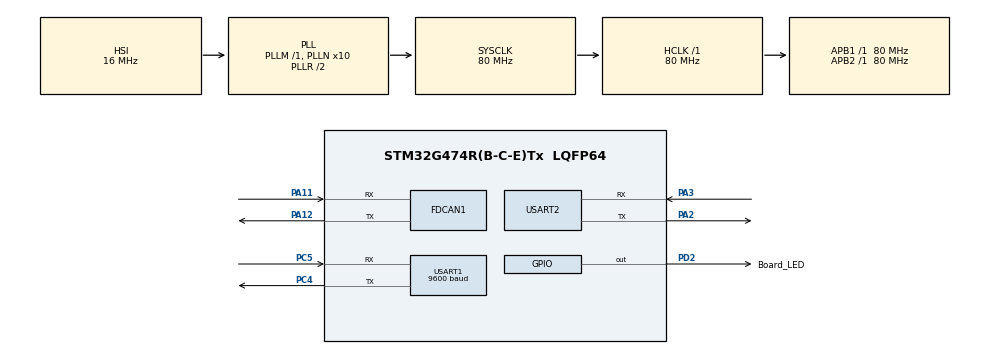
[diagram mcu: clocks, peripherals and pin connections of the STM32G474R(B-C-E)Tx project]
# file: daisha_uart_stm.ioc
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FDCAN1.CalculateBaudRateNominal=1000000
FDCAN1.CalculateTimeBitNominal=1000
FDCAN1.CalculateTimeQuantumNominal=50.0
FDCAN1.DataPrescaler=2
FDCAN1.DataTimeSeg1=15
FDCAN1.DataTimeSeg2=4
FDCAN1.FrameFormat=FDCAN_FRAME_FD_BRS
FDCAN1.NominalPrescaler=4
FDCAN1.NominalTimeSeg1=15
FDCAN1.NominalTimeSeg2=4
FDCAN1.StdFiltersNbr=1
Mcu.Family=STM32G4
Mcu.Name=STM32G474R(B-C-E)Tx
Mcu.Package=LQFP64
NVIC.FDCAN1_IT0_IRQn=true\:0\:0\:false\:false\:true\:true\:true\:true
NVIC.FDCAN1_IT1_IRQn=true\:0\:0\:false\:false\:true\:true\:true\:true
NVIC.PriorityGroup=NVIC_PRIORITYGROUP_4
NVIC.USART1_IRQn=true\:0\:0\:false\:false\:true\:true\:true\:true
NVIC.USART2_IRQn=true\:0\:0\:false\:false\:true\:true\:true\:true
PA11.Mode=FDCAN_Activate
PA11.Signal=FDCAN1_RX
PA12.Mode=FDCAN_Activate
PA12.Signal=FDCAN1_TX
PA2.Mode=Asynchronous
PA2.Signal=USART2_TX
PA3.Mode=Asynchronous
PA3.Signal=USART2_RX
PC4.Mode=Asynchronous
PC4.Signal=USART1_TX
PC5.Mode=Asynchronous
PC5.Signal=USART1_RX
PD2.GPIO_Label=Board_LED
PD2.Signal=GPIO_Output
ProjectManager.HeapSize=0x200
ProjectManager.StackSize=0x400
ProjectManager.TargetToolchain=STM32CubeIDE
RCC.ADC12Freq_Value=80000000
RCC.ADC345Freq_Value=80000000
RCC.AHBFreq_Value=80000000
RCC.APB1Freq_Value=80000000
RCC.APB1TimFreq_Value=80000000
RCC.APB2Freq_Value=80000000
RCC.APB2TimFreq_Value=80000000
RCC.CortexFreq_Value=80000000
RCC.EXTERNAL_CLOCK_VALUE=12288000
RCC.HCLKFreq_Value=80000000
RCC.HSE_VALUE=8000000
RCC.HSI48_VALUE=48000000
RCC.HSI_VALUE=16000000
RCC.LSE_VALUE=32768
RCC.PLLN=10
RCC.SYSCLKFreq_VALUE=80000000
RCC.SYSCLKSource=RCC_SYSCLKSOURCE_PLLCLK
RCC.USBFreq_Value=80000000
RCC.VCOOutputFreq_Value=160000000
USART1.BaudRate=9600
USART1.VirtualMode-Asynchronous=VM_ASYNC
USART2.VirtualMode-Asynchronous=VM_ASYNC
VP_SYS_VS_DBSignals.Mode=DisableDeadBatterySignals
board=custom

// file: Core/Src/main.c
/* USER CODE BEGIN Header */
/**
  ******************************************************************************
  * @file           : main.c
  * @brief          : Main program body
  ******************************************************************************
  * @attention
  *
  * Copyright (c) 2024 STMicroelectronics.
  * All rights reserved.
  *
  * This software is licensed under terms that can be found in the LICENSE file
  * in the root directory of this software component.
  * If no LICENSE file comes with this software, it is provided AS-IS.
  *
  ******************************************************************************
  */
/* USER CODE END Header */
#include "main.h"

/* USER CODE BEGIN Includes */
#include <stdio.h>
#include <string.h>
/* USER CODE END Includes */

FDCAN_HandleTypeDef hfdcan1;

UART_HandleTypeDef huart1;
UART_HandleTypeDef huart2;

/* USER CODE BEGIN PV */
FDCAN_TxHeaderTypeDef TxHeader;
FDCAN_RxHeaderTypeDef RxHeader;
FDCAN_FilterTypeDef sFilterConfig;

uint8_t TxData1[8] = {};
uint8_t RxData[8] = {};

uint8_t buffer[1] = {};
uint8_t size = 1;
int8_t datapos=-1;
uint8_t data[9];
uint16_t FIRSTCANID = 0x300;
uint16_t SECONDCANID = 0x301;
/* USER CODE END PV */

void SystemClock_Config(void);
static void MX_GPIO_Init(void);
static void MX_FDCAN1_Init(void);
static void MX_USART2_UART_Init(void);
static void MX_USART1_UART_Init(void);

/* USER CODE BEGIN 0 */
void HAL_UART_RxCpltCallback(UART_HandleTypeDef *huart)
{

    if(buffer[0] == 0xff){
    	datapos=0;
    }else if(datapos>=0){
        data[datapos++]=buffer[0];
    }
    if(datapos>=5){
    	memcpy(TxData1,data,4);
        datapos=-1;
    }

	HAL_UART_Receive_IT(&huart1, buffer, size);
}

void HAL_UART_ErrorCallback(UART_HandleTypeDef *huart){
	printf("uart_error\r\n");
	HAL_UART_Abort(huart);
	HAL_UART_Receive_IT(&huart1, buffer, size);
	datapos=-1;
}

void HAL_FDCAN_RxFifo1Callback(FDCAN_HandleTypeDef *hfdcan, uint32_t RxFifo1ITs){
	int16_t CANID = 0;
	if (RESET != (RxFifo1ITs & FDCAN_IT_RX_FIFO1_NEW_MESSAGE)) {

	        /* Retrieve Rx messages from RX FIFO0 */

		if (HAL_OK != HAL_FDCAN_GetRxMessage(&hfdcan1, FDCAN_RX_FIFO1, &RxHeader, RxData)) {
			printf("fdcan_getrxmessage is error\r\n");
			Error_Handler();
		}

		if (CANID == RxHeader.Identifier) {

		}
	}
}

void FDCAN_RxTxSettings(void){
	FDCAN_FilterTypeDef FDCAN_Filter_settings;
	FDCAN_Filter_settings.IdType = FDCAN_STANDARD_ID;
	FDCAN_Filter_settings.FilterIndex = 0;
	FDCAN_Filter_settings.FilterType = FDCAN_FILTER_RANGE;
	FDCAN_Filter_settings.FilterConfig = FDCAN_FILTER_TO_RXFIFO1;
	FDCAN_Filter_settings.FilterID1 = 0;
	FDCAN_Filter_settings.FilterID2 = 0x7FF;

	TxHeader.Identifier = 0x000;
	TxHeader.IdType = FDCAN_STANDARD_ID;
	TxHeader.TxFrameType = FDCAN_DATA_FRAME;
	TxHeader.DataLength = FDCAN_DLC_BYTES_8;
	TxHeader.ErrorStateIndicator = FDCAN_ESI_ACTIVE;
	TxHeader.BitRateSwitch = FDCAN_BRS_ON;
	TxHeader.FDFormat = FDCAN_FD_CAN;
	TxHeader.TxEventFifoControl = FDCAN_NO_TX_EVENTS;
	TxHeader.MessageMarker = 0;

	if (HAL_OK != HAL_FDCAN_ConfigFilter(&hfdcan1, &FDCAN_Filter_settings)){
		printf("fdcan_configfilter is error\r\n");
		Error_Handler();
	}

	if (HAL_OK != HAL_FDCAN_ConfigGlobalFilter(&hfdcan1, FDCAN_REJECT, FDCAN_FILTER_REJECT, FDCAN_FILTER_REMOTE, FDCAN_FILTER_REMOTE)){
		printf("fdcan_configglobalfilter is error\r\n");
		Error_Handler();
	}

	if (HAL_OK != HAL_FDCAN_Start(&hfdcan1)) {
		printf("fdcan_start is error\r\n");
		Error_Handler();
	}

	if (HAL_OK != HAL_FDCAN_ActivateNotification(&hfdcan1, FDCAN_IT_RX_FIFO1_NEW_MESSAGE, 0)){
		printf("fdcan_activatenotification is error\r\n");
		Error_Handler();
	}
}

int _write(int file, char *ptr, int len)
{
    HAL_UART_Transmit(&huart2,(uint8_t *)ptr,len,10);
    return len;
}
/* USER CODE END 0 */

int main(void)
{

  /* USER CODE BEGIN 1 */
	setbuf(stdout, NULL);
  /* USER CODE END 1 */

  /* MCU Configuration--------------------------------------------------------*/

  /* Reset of all peripherals, Initializes the Flash interface and the Systick. */
  HAL_Init();

  /* Configure the system clock */
  SystemClock_Config();

  /* Initialize all configured peripherals */
  MX_GPIO_Init();
  MX_FDCAN1_Init();
  MX_USART2_UART_Init();
  MX_USART1_UART_Init();
  /* USER CODE BEGIN 2 */
  printf("start\r\n");
  printf("can start\r\n");
  FDCAN_RxTxSettings();
  HAL_UART_Receive_IT(&huart1, buffer, size);
  /* USER CODE END 2 */

  /* Infinite loop */
  /* USER CODE BEGIN WHILE */
  while (1)
  {
	  //printf("%d, %d, %d, %d\r\n", TxData1[0], TxData1[1], TxData1[2], TxData1[3]);
	  printf("(%d,%d)\r\n",(int16_t)(TxData1[0] << 8 | TxData1[1]), (int16_t)(TxData1[2] << 8 | TxData1[3]));
	  TxHeader.Identifier = FIRSTCANID;
	  if (HAL_FDCAN_AddMessageToTxFifoQ(&hfdcan1, &TxHeader, TxData1) != HAL_OK){
		  printf("addmessage1 is error\r\n");
		  Error_Handler();
	  }
	  HAL_Delay(1);
    /* USER CODE END WHILE */

  }
}

void SystemClock_Config(void)
{
  RCC_OscInitTypeDef RCC_OscInitStruct = {0};
  RCC_ClkInitTypeDef RCC_ClkInitStruct = {0};

  /** Configure the main internal regulator output voltage
  */
  HAL_PWREx_ControlVoltageScaling(PWR_REGULATOR_VOLTAGE_SCALE1);

  /** Initializes the RCC Oscillators according to the specified parameters
  * in the RCC_OscInitTypeDef structure.
  */
  RCC_OscInitStruct.OscillatorType = RCC_OSCILLATORTYPE_HSI;
  RCC_OscInitStruct.HSIState = RCC_HSI_ON;
  RCC_OscInitStruct.HSICalibrationValue = RCC_HSICALIBRATION_DEFAULT;
  RCC_OscInitStruct.PLL.PLLState = RCC_PLL_ON;
  RCC_OscInitStruct.PLL.PLLSource = RCC_PLLSOURCE_HSI;
  RCC_OscInitStruct.PLL.PLLM = RCC_PLLM_DIV1;
  RCC_OscInitStruct.PLL.PLLN = 10;
  RCC_OscInitStruct.PLL.PLLP = RCC_PLLP_DIV2;
  RCC_OscInitStruct.PLL.PLLQ = RCC_PLLQ_DIV2;
  RCC_OscInitStruct.PLL.PLLR = RCC_PLLR_DIV2;
  if (HAL_RCC_OscConfig(&RCC_OscInitStruct) != HAL_OK)
  {
    Error_Handler();
  }

  /** Initializes the CPU, AHB and APB buses clocks
  */
  RCC_ClkInitStruct.ClockType = RCC_CLOCKTYPE_HCLK|RCC_CLOCKTYPE_SYSCLK
                              |RCC_CLOCKTYPE_PCLK1|RCC_CLOCKTYPE_PCLK2;
  RCC_ClkInitStruct.SYSCLKSource = RCC_SYSCLKSOURCE_PLLCLK;
  RCC_ClkInitStruct.AHBCLKDivider = RCC_SYSCLK_DIV1;
  RCC_ClkInitStruct.APB1CLKDivider = RCC_HCLK_DIV1;
  RCC_ClkInitStruct.APB2CLKDivider = RCC_HCLK_DIV1;

  if (HAL_RCC_ClockConfig(&RCC_ClkInitStruct, FLASH_LATENCY_2) != HAL_OK)
  {
    Error_Handler();
  }
}

static void MX_FDCAN1_Init(void)
{

  hfdcan1.Instance = FDCAN1;
  hfdcan1.Init.ClockDivider = FDCAN_CLOCK_DIV1;
  hfdcan1.Init.FrameFormat = FDCAN_FRAME_FD_BRS;
  hfdcan1.Init.Mode = FDCAN_MODE_NORMAL;
  hfdcan1.Init.AutoRetransmission = DISABLE;
  hfdcan1.Init.TransmitPause = DISABLE;
  hfdcan1.Init.ProtocolException = DISABLE;
  hfdcan1.Init.NominalPrescaler = 4;
  hfdcan1.Init.NominalSyncJumpWidth = 1;
  hfdcan1.Init.NominalTimeSeg1 = 15;
  hfdcan1.Init.NominalTimeSeg2 = 4;
  hfdcan1.Init.DataPrescaler = 2;
  hfdcan1.Init.DataSyncJumpWidth = 1;
  hfdcan1.Init.DataTimeSeg1 = 15;
  hfdcan1.Init.DataTimeSeg2 = 4;
  hfdcan1.Init.StdFiltersNbr = 1;
  hfdcan1.Init.ExtFiltersNbr = 0;
  hfdcan1.Init.TxFifoQueueMode = FDCAN_TX_FIFO_OPERATION;
  if (HAL_FDCAN_Init(&hfdcan1) != HAL_OK)
  {
    Error_Handler();
  }

}

static void MX_USART1_UART_Init(void)
{

  huart1.Instance = USART1;
  huart1.Init.BaudRate = 9600;
  huart1.Init.WordLength = UART_WORDLENGTH_8B;
  huart1.Init.StopBits = UART_STOPBITS_1;
  huart1.Init.Parity = UART_PARITY_NONE;
  huart1.Init.Mode = UART_MODE_TX_RX;
  huart1.Init.HwFlowCtl = UART_HWCONTROL_NONE;
  huart1.Init.OverSampling = UART_OVERSAMPLING_16;
  huart1.Init.OneBitSampling = UART_ONE_BIT_SAMPLE_DISABLE;
  huart1.Init.ClockPrescaler = UART_PRESCALER_DIV1;
  huart1.AdvancedInit.AdvFeatureInit = UART_ADVFEATURE_NO_INIT;
  if (HAL_UART_Init(&huart1) != HAL_OK)
  {
    Error_Handler();
  }
  if (HAL_UARTEx_SetTxFifoThreshold(&huart1, UART_TXFIFO_THRESHOLD_1_8) != HAL_OK)
  {
    Error_Handler();
  }
  if (HAL_UARTEx_SetRxFifoThreshold(&huart1, UART_RXFIFO_THRESHOLD_1_8) != HAL_OK)
  {
    Error_Handler();
  }
  if (HAL_UARTEx_DisableFifoMode(&huart1) != HAL_OK)
  {
    Error_Handler();
  }

}

static void MX_USART2_UART_Init(void)
{

  huart2.Instance = USART2;
  huart2.Init.BaudRate = 115200;
  huart2.Init.WordLength = UART_WORDLENGTH_8B;
  huart2.Init.StopBits = UART_STOPBITS_1;
  huart2.Init.Parity = UART_PARITY_NONE;
  huart2.Init.Mode = UART_MODE_TX_RX;
  huart2.Init.HwFlowCtl = UART_HWCONTROL_NONE;
  huart2.Init.OverSampling = UART_OVERSAMPLING_16;
  huart2.Init.OneBitSampling = UART_ONE_BIT_SAMPLE_DISABLE;
  huart2.Init.ClockPrescaler = UART_PRESCALER_DIV1;
  huart2.AdvancedInit.AdvFeatureInit = UART_ADVFEATURE_NO_INIT;
  if (HAL_UART_Init(&huart2) != HAL_OK)
  {
    Error_Handler();
  }
  if (HAL_UARTEx_SetTxFifoThreshold(&huart2, UART_TXFIFO_THRESHOLD_1_8) != HAL_OK)
  {
    Error_Handler();
  }
  if (HAL_UARTEx_SetRxFifoThreshold(&huart2, UART_RXFIFO_THRESHOLD_1_8) != HAL_OK)
  {
    Error_Handler();
  }
  if (HAL_UARTEx_DisableFifoMode(&huart2) != HAL_OK)
  {
    Error_Handler();
  }

}

static void MX_GPIO_Init(void)
{
  GPIO_InitTypeDef GPIO_InitStruct = {0};

  /* GPIO Ports Clock Enable */
  __HAL_RCC_GPIOA_CLK_ENABLE();
  __HAL_RCC_GPIOC_CLK_ENABLE();
  __HAL_RCC_GPIOD_CLK_ENABLE();

  /*Configure GPIO pin Output Level */
  HAL_GPIO_WritePin(Board_LED_GPIO_Port, Board_LED_Pin, GPIO_PIN_RESET);

  /*Configure GPIO pin : Board_LED_Pin */
  GPIO_InitStruct.Pin = Board_LED_Pin;
  GPIO_InitStruct.Mode = GPIO_MODE_OUTPUT_PP;
  GPIO_InitStruct.Pull = GPIO_NOPULL;
  GPIO_InitStruct.Speed = GPIO_SPEED_FREQ_LOW;
  HAL_GPIO_Init(Board_LED_GPIO_Port, &GPIO_InitStruct);

}

void Error_Handler(void)
{
  __disable_irq();
  while (1)
  {
  }
}
